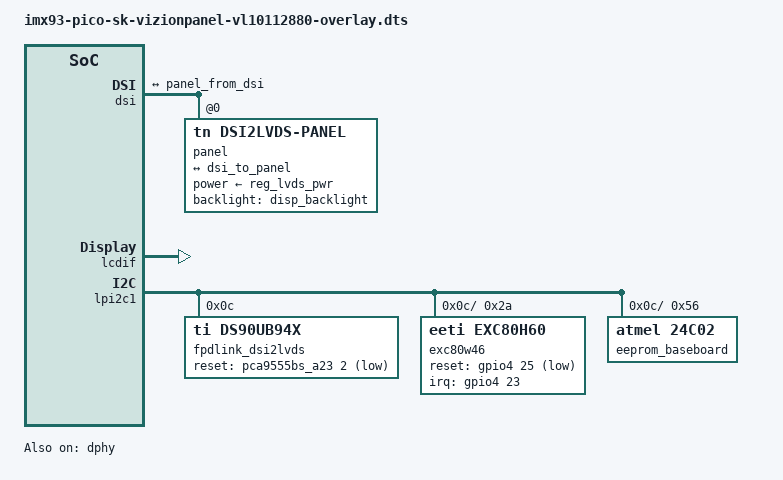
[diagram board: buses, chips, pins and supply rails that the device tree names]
// SPDX-License-Identifier: (GPL-2.0+ OR MIT)
/*
 * Copyright 2020 TechNexion Ltd.
 *
 * Author: Richard Hu <richard.hu@technexion.com>
 *
 */

/dts-v1/;
/plugin/;

#include <dt-bindings/interrupt-controller/irq.h>
#include <dt-bindings/gpio/gpio.h>

/ {
	fragment@0 {
		target-path = "/";
		__overlay__ {
			reg_lvds_pwr: regulator_lvdspwr {
				status = "okay";
			};
		};
	};

	fragment@1 {
		target-path = "/";
		__overlay__ {
			reg_mipi_backlight_pwr: regulator_mipiblpwr {
				status = "okay";
			};
		};
	};

	fragment@2 {
		target-path = "/";
		__overlay__ {
			disp_backlight: disp_backlight {
				status = "okay";
			};
		};
	};

	fragment@3 {
		target = <&dphy>;
		__overlay__ {
			status = "okay";
		};
	};

	fragment@4 {
		target = <&dsi>;
		__overlay__ {
			status = "okay";
			#address-cells = <1>;
			#size-cells = <0>;

			panel@0 {
				compatible = "tn,dsi2lvds-panel";
				reg = <0>;
				backlight = <&disp_backlight>;
				power-supply = <&reg_lvds_pwr>;

				dsi,flags = <0x0003>;
				dsi,format = <0>;
				dsi,lanes = <4>;
				panel-width-mm  = <217>;
				panel-height-mm = <135>;
				bus-format = <0x100a>;	/* MEDIA_BUS_FMT_RGB888_1X24 */
				bus-flags = <1>;
				refresh-rate = <60>;
				rotate = <0>;
				/* horz-flip; */
				/* vert-flip; */

				panel-timing {
					clock-frequency = <69500000>;
					hactive = <1280>;
					vactive = <800>;
					hfront-porch = <40>;
					hsync-len = <80>;
					hback-porch = <40>;
					vfront-porch = <3>;
					vsync-len = <10>;
					vback-porch = <10>;
					/* flags = DISPLAY_FLAGS_HSYNC_HIGH | DISPLAY_FLAGS_VSYNC_HIGH */
					vsync-active = <1>;
					hsync-active = <1>;
				};

				port {
					panel_from_dsi: endpoint {
						remote-endpoint = <&dsi_to_panel>;
					};
				};
			};

			ports {
				#address-cells = <1>;
				#size-cells = <0>;
				port@1 {
					reg = <1>;

					dsi_to_panel: endpoint {
						remote-endpoint = <&panel_from_dsi>;
					};
				};
			};
		};
	};

	fragment@5 {
		target = <&lcdif>;
		__overlay__ {
			status = "okay";
			assigned-clock-rates = <445333333>, <148444444>, <400000000>, <133333333>;
		};
	};

	fragment@6 {
		target = <&lpi2c1>;
		__overlay__ {
			#address-cells = <1>;
			#size-cells = <0>;
			status = "okay";

			fpdlink_dsi2lvds: ds90ub948@c {
				compatible = "ti,ds90ub94x";
				reg = <0x0c>;
				status = "okay";
				reset-gpios = <&pca9555bs_a23 2 GPIO_ACTIVE_LOW>;
				vizionpanel-remote-gpio;
				dsi-delay = <2500>;
				i2c-alias-pool = <0x48 0x49 0x4a 0x4b 0x4c 0x4d 0x4e 0x4f>;

				i2c {
					#address-cells = <1>;
					#size-cells = <0>;

					exc80w46: touchscreen@2a {
						compatible = "eeti,exc80h60";
						pinctrl-names = "touch_reset", "mipi_touch";
						pinctrl-0 = <&pinctrl_touch>;
						pinctrl-1 = <&pinctrl_mipi_touch_irq>;
						reg = <0x2a>;
						interrupt-parent = <&gpio4>;
						interrupts = <23 IRQ_TYPE_LEVEL_LOW>;
						reset-gpios = <&gpio4 25 GPIO_ACTIVE_LOW>;
						status = "okay";
					};

					eeprom_baseboard: eeprom@56 {
						compatible = "atmel,24c02";
						reg = <0x56>;
						pagesize = <16>;
						status = "okay";
					};
				};
			};
		};
	};
};
